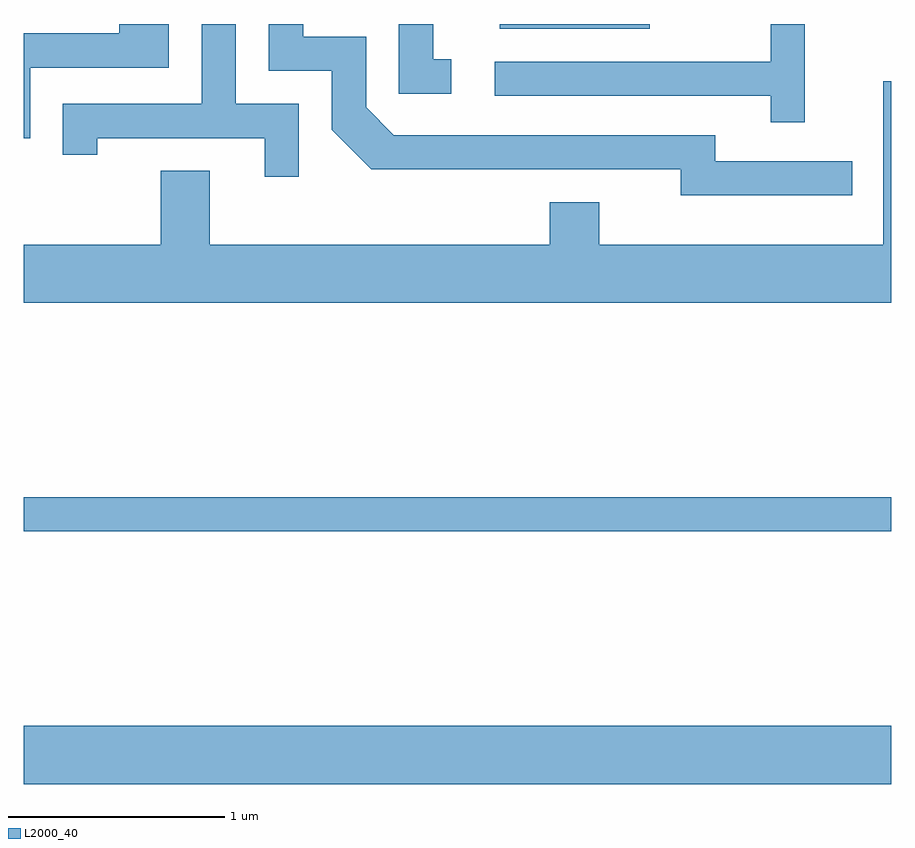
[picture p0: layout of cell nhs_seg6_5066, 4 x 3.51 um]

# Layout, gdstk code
import gdstk
lib = gdstk.Library(unit=1e-6, precision=1e-09)
def R(c, l, rs):  # rectangles x0, y0, x1, y1
    for r in rs: c.add(gdstk.rectangle(r[:2], r[2:], *l))
def P(c, l, *ps):  # polygons
    for p in ps: c.add(gdstk.Polygon(p, *l))
L2000_40 = (2000, 40)

nhs_seg6_5066 = lib.new_cell('nhs_seg6_5066')
R(nhs_seg6_5066, L2000_40, [(339.611,1596.656,343.611,1596.924), (339.611,1597.821,343.611,1597.979), (341.806,1600.141,342.499,1600.162)])
P(nhs_seg6_5066, L2000_40, [(341.583,1599.999),(341.499,1599.999),(341.499,1600.162),(341.341,1600.162),(341.341,1599.841),(341.583,1599.841)],
  [(343.433,1599.529),(342.799,1599.529),(342.799,1599.649),(341.317,1599.649),(341.189,1599.777),(341.189,1600.104),(340.899,1600.104),(340.899,1600.162),(340.741,1600.162),(340.741,1599.946),(341.031,1599.946),(341.031,1599.674),(341.214,1599.491),(342.641,1599.491),(342.641,1599.371),(343.433,1599.371)],
  [(340.879,1599.794),(340.589,1599.794),(340.589,1600.162),(340.431,1600.162),(340.431,1599.794),(339.791,1599.794),(339.791,1599.558),(339.949,1599.558),(339.949,1599.636),(340.721,1599.636),(340.721,1599.458),(340.879,1599.458)],
  [(339.639,1599.961),(340.279,1599.961),(340.279,1600.162),(340.051,1600.162),(340.051,1600.119),(339.611,1600.119),(339.611,1599.636),(339.639,1599.636)],
  [(343.214,1600.162),(343.056,1600.162),(343.056,1599.989),(341.783,1599.989),(341.783,1599.831),(343.056,1599.831),(343.056,1599.708),(343.214,1599.708)],
  [(343.611,1599.898),(343.576,1599.898),(343.576,1599.144),(342.264,1599.144),(342.264,1599.339),(342.036,1599.339),(342.036,1599.144),(340.469,1599.144),(340.469,1599.484),(340.241,1599.484),(340.241,1599.144),(339.611,1599.144),(339.611,1598.876),(343.611,1598.876)])

lib.write_gds('nhs_seg6_5066.gds')
